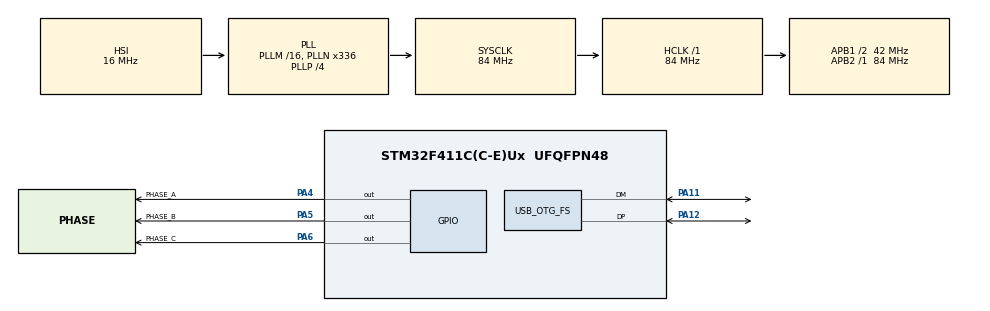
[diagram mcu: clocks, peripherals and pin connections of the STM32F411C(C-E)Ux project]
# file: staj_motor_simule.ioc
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Mcu.Family=STM32F4
Mcu.Name=STM32F411C(C-E)Ux
Mcu.Package=UFQFPN48
NVIC.OTG_FS_IRQn=true\:0\:0\:false\:false\:true\:false\:true\:true
NVIC.PriorityGroup=NVIC_PRIORITYGROUP_4
PA11.Mode=Device_Only
PA11.Signal=USB_OTG_FS_DM
PA12.Mode=Device_Only
PA12.Signal=USB_OTG_FS_DP
PA4.GPIO_Label=PHASE_A
PA4.Signal=GPIO_Output
PA5.GPIO_Label=PHASE_B
PA5.Signal=GPIO_Output
PA6.GPIO_Label=PHASE_C
PA6.Signal=GPIO_Output
ProjectManager.HeapSize=0x0
ProjectManager.StackSize=0x400
ProjectManager.TargetToolchain=STM32CubeIDE
RCC.48MHZClocksFreq_Value=48000000
RCC.AHBFreq_Value=84000000
RCC.APB1CLKDivider=RCC_HCLK_DIV2
RCC.APB1Freq_Value=42000000
RCC.APB1TimFreq_Value=84000000
RCC.APB2Freq_Value=84000000
RCC.APB2TimFreq_Value=84000000
RCC.CortexFreq_Value=84000000
RCC.HCLKFreq_Value=84000000
RCC.HSE_VALUE=25000000
RCC.HSI_VALUE=16000000
RCC.LSE_VALUE=32768
RCC.PLLN=336
RCC.PLLP=RCC_PLLP_DIV4
RCC.PLLQ=7
RCC.PLLSourceVirtualString=RCC_PLLSOURCE_HSI
RCC.SYSCLKFreq_VALUE=84000000
RCC.SYSCLKSource=RCC_SYSCLKSOURCE_PLLCLK
RCC.VCOOutputFreq_Value=336000000
USB_DEVICE.CLASS_NAME_FS=CDC
USB_DEVICE.VirtualMode=Cdc
USB_DEVICE.VirtualModeFS=Cdc_FS
USB_OTG_FS.VirtualMode=Device_Only
VP_USB_DEVICE_VS_USB_DEVICE_CDC_FS.Mode=CDC_FS
board=custom

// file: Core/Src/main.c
/* USER CODE BEGIN Header */
/**
  ******************************************************************************
  * @file           : main.c
  * @brief          : Main program body
  ******************************************************************************
  * @attention
  *
  * Copyright (c) 2026 STMicroelectronics.
  * All rights reserved.
  *
  * This software is licensed under terms that can be found in the LICENSE file
  * in the root directory of this software component.
  * If no LICENSE file comes with this software, it is provided AS-IS.
  *
  ******************************************************************************
  */
/* USER CODE END Header */
#include "main.h"
#include "usb_device.h"

/* USER CODE BEGIN Includes */

#include "usbd_cdc_if.h"

/* USER CODE END Includes */

/* USER CODE BEGIN PTD */

/* Faz halleri iki bite sigar; tablo RAM/Flash'te enum (int) tutmaz. */
typedef uint8_t PhaseState_t;
enum
{
  PHASE_FLOAT = 0U,
  PHASE_LOW   = 1U,
  PHASE_HIGH  = 2U
};

/* USER CODE END PTD */

/* USER CODE BEGIN PD */

#define MOTOR_STEP_COUNT      6U
#define MOTOR_STEP_PERIOD_MS 10U
#define PACK_PHASES(a, b, c) ((uint8_t)((a) | ((b) << 2U) | ((c) << 4U)))
#define UNPACK_PHASE(step, n) ((PhaseState_t)(((step) >> ((n) * 2U)) & 0x03U))

/* USER CODE END PD */

/* USER CODE BEGIN PV */

/* Su an hangi komutasyon adimindayiz. */
static uint8_t current_step;

/* Her adimda A/B/C fazlari ikiser bit ile tek byte'a paketlenir. */
static const uint8_t commutation_table[MOTOR_STEP_COUNT] =
{
  PACK_PHASES(PHASE_HIGH,  PHASE_LOW,   PHASE_FLOAT), /* STEP 1 */
  PACK_PHASES(PHASE_HIGH,  PHASE_FLOAT, PHASE_LOW),   /* STEP 2 */
  PACK_PHASES(PHASE_FLOAT, PHASE_HIGH,  PHASE_LOW),   /* STEP 3 */
  PACK_PHASES(PHASE_LOW,   PHASE_HIGH,  PHASE_FLOAT), /* STEP 4 */
  PACK_PHASES(PHASE_LOW,   PHASE_FLOAT, PHASE_HIGH),  /* STEP 5 */
  PACK_PHASES(PHASE_FLOAT, PHASE_LOW,   PHASE_HIGH)   /* STEP 6 */
};

/* CoolTerm, etiketli "A=-1" alaninda eksi isaretini atabildigi icin saf CSV
 * kullanilir: STEP,A,B,C. snprintf kullanmamak firmware'i de kucultur. */
static const char chart_lines[MOTOR_STEP_COUNT][sizeof("1,1,-1,0\r\n")] =
{
  "1,1,-1,0\r\n",
  "2,1,0,-1\r\n",
  "3,0,1,-1\r\n",
  "4,-1,1,0\r\n",
  "5,-1,0,1\r\n",
  "6,0,-1,1\r\n"
};

/* USER CODE END PV */

void SystemClock_Config(void);
static void MX_GPIO_Init(void);
/* USER CODE BEGIN PFP */

static void Set_Phase(GPIO_TypeDef *port, uint16_t pin, PhaseState_t state);
static void Motor_Advance(void);

/* USER CODE END PFP */

int main(void)
{

  /* MCU Configuration--------------------------------------------------------*/

  /* Reset of all peripherals, Initializes the Flash interface and the Systick. */
  HAL_Init();

  /* Configure the system clock */
  SystemClock_Config();

  /* Initialize all configured peripherals */
  MX_GPIO_Init();
  MX_USB_DEVICE_Init();
  /* USER CODE BEGIN 2 */

  uint32_t last_step_ms = HAL_GetTick();

  /* USER CODE END 2 */

  /* Infinite loop */
  while (1)
  {

    /* SysTick zaten HAL ve USB icin calisiyor. Ayrica TIM3/HAL_TIM kodu
     * tasimadan her 10 ms'de bir komutasyon adimi uret. */
    const uint32_t now_ms = HAL_GetTick();
    if ((uint32_t)(now_ms - last_step_ms) >= MOTOR_STEP_PERIOD_MS)
    {
      last_step_ms += MOTOR_STEP_PERIOD_MS;
      Motor_Advance();
    }
  }
}

void SystemClock_Config(void)
{
  RCC_OscInitTypeDef RCC_OscInitStruct = {0};
  RCC_ClkInitTypeDef RCC_ClkInitStruct = {0};

  /** Configure the main internal regulator output voltage
  */
  __HAL_RCC_PWR_CLK_ENABLE();
  __HAL_PWR_VOLTAGESCALING_CONFIG(PWR_REGULATOR_VOLTAGE_SCALE2);

  /** Initializes the RCC Oscillators according to the specified parameters
  * in the RCC_OscInitTypeDef structure.
  */
  RCC_OscInitStruct.OscillatorType = RCC_OSCILLATORTYPE_HSI;
  RCC_OscInitStruct.HSIState = RCC_HSI_ON;
  RCC_OscInitStruct.HSICalibrationValue = RCC_HSICALIBRATION_DEFAULT;
  RCC_OscInitStruct.PLL.PLLState = RCC_PLL_ON;
  RCC_OscInitStruct.PLL.PLLSource = RCC_PLLSOURCE_HSI;
  RCC_OscInitStruct.PLL.PLLM = 16;
  RCC_OscInitStruct.PLL.PLLN = 336;
  RCC_OscInitStruct.PLL.PLLP = RCC_PLLP_DIV4;
  RCC_OscInitStruct.PLL.PLLQ = 7;
  if (HAL_RCC_OscConfig(&RCC_OscInitStruct) != HAL_OK)
  {
    Error_Handler();
  }

  /** Initializes the CPU, AHB and APB buses clocks
  */
  RCC_ClkInitStruct.ClockType = RCC_CLOCKTYPE_HCLK|RCC_CLOCKTYPE_SYSCLK
                              |RCC_CLOCKTYPE_PCLK1|RCC_CLOCKTYPE_PCLK2;
  RCC_ClkInitStruct.SYSCLKSource = RCC_SYSCLKSOURCE_PLLCLK;
  RCC_ClkInitStruct.AHBCLKDivider = RCC_SYSCLK_DIV1;
  RCC_ClkInitStruct.APB1CLKDivider = RCC_HCLK_DIV2;
  RCC_ClkInitStruct.APB2CLKDivider = RCC_HCLK_DIV1;

  if (HAL_RCC_ClockConfig(&RCC_ClkInitStruct, FLASH_LATENCY_2) != HAL_OK)
  {
    Error_Handler();
  }
}

static void MX_GPIO_Init(void)
{
  GPIO_InitTypeDef GPIO_InitStruct = {0};

  /* GPIO Ports Clock Enable */
  __HAL_RCC_GPIOA_CLK_ENABLE();

  /*Configure GPIO pin Output Level */
  HAL_GPIO_WritePin(GPIOA, PHASE_A_Pin|PHASE_B_Pin|PHASE_C_Pin, GPIO_PIN_RESET);

  /*Configure GPIO pins : PHASE_A_Pin PHASE_B_Pin PHASE_C_Pin */
  GPIO_InitStruct.Pin = PHASE_A_Pin|PHASE_B_Pin|PHASE_C_Pin;
  GPIO_InitStruct.Mode = GPIO_MODE_OUTPUT_PP;
  GPIO_InitStruct.Pull = GPIO_NOPULL;
  GPIO_InitStruct.Speed = GPIO_SPEED_FREQ_LOW;
  HAL_GPIO_Init(GPIOA, &GPIO_InitStruct);

}

/* USER CODE BEGIN 4 */

/*
 * Bir half-bridge cikisinin YUKSEK / DUSUK / FLOAT halini,
 * ayni GPIO pinini calisma anida yeniden yapilandirarak taklit eder
 * (Bolum 6.1 / Sekil 6): OUTPUT+SET, OUTPUT+RESET veya INPUT (Hi-Z).
 */
static void Set_Phase(GPIO_TypeDef *port, uint16_t pin, PhaseState_t state)
{
  GPIO_InitTypeDef GPIO_InitStruct = {0};
  GPIO_InitStruct.Pin = pin;

  switch (state)
  {
    case PHASE_HIGH:
      GPIO_InitStruct.Mode = GPIO_MODE_OUTPUT_PP;
      GPIO_InitStruct.Pull = GPIO_NOPULL;
      GPIO_InitStruct.Speed = GPIO_SPEED_FREQ_LOW;
      HAL_GPIO_Init(port, &GPIO_InitStruct);
      HAL_GPIO_WritePin(port, pin, GPIO_PIN_SET);
      break;

    case PHASE_LOW:
      GPIO_InitStruct.Mode = GPIO_MODE_OUTPUT_PP;
      GPIO_InitStruct.Pull = GPIO_NOPULL;
      GPIO_InitStruct.Speed = GPIO_SPEED_FREQ_LOW;
      HAL_GPIO_Init(port, &GPIO_InitStruct);
      HAL_GPIO_WritePin(port, pin, GPIO_PIN_RESET);
      break;

    case PHASE_FLOAT:
    default:
      GPIO_InitStruct.Mode = GPIO_MODE_INPUT;
      GPIO_InitStruct.Pull = GPIO_NOPULL;
      HAL_GPIO_Init(port, &GPIO_InitStruct);
      break;
  }
}

/*
 * Su anki adima gore 3 fazi (A,B,C) gunceller, durumu USB-CDC
 * uzerinden PC'ye yazdirir, ardindan bir sonraki adima gecer.
 */
static void Motor_Advance(void)
{
  const uint8_t packed_step = commutation_table[current_step];

  Set_Phase(PHASE_A_GPIO_Port, PHASE_A_Pin, UNPACK_PHASE(packed_step, 0U));
  Set_Phase(PHASE_B_GPIO_Port, PHASE_B_Pin, UNPACK_PHASE(packed_step, 1U));
  Set_Phase(PHASE_C_GPIO_Port, PHASE_C_Pin, UNPACK_PHASE(packed_step, 2U));

  /* CDC_Transmit_FS bloklamaz: USB tamponu doluysa USBD_BUSY doner;
   * ana dongu bekletilmeden yalnizca o CSV satiri atlanir. */
  CDC_Transmit_FS((uint8_t *)chart_lines[current_step],
                  (uint16_t)(sizeof(chart_lines[0]) - 1U));

  current_step++;
  if (current_step >= MOTOR_STEP_COUNT)
  {
    current_step = 0U;
  }
}

/* USER CODE END 4 */

void Error_Handler(void)
{
  __disable_irq();
  while (1)
  {
  }
}
